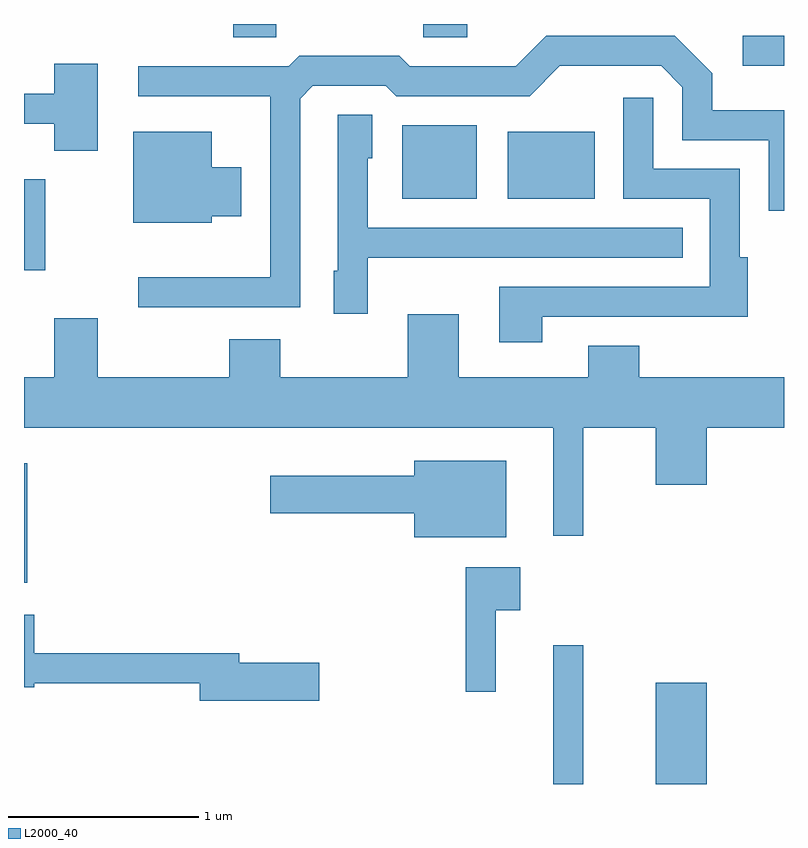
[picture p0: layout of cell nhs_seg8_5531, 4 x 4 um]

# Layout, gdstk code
import gdstk
lib = gdstk.Library(unit=1e-6, precision=1e-09)
def R(c, l, rs):  # rectangles x0, y0, x1, y1
    for r in rs: c.add(gdstk.rectangle(r[:2], r[2:], *l))
def P(c, l, *ps):  # polygons
    for p in ps: c.add(gdstk.Polygon(p, *l))
L2000_40 = (2000, 40)

nhs_seg8_5531 = lib.new_cell('nhs_seg8_5531')
R(nhs_seg8_5531, L2000_40, [(354.396,1812.342,354.554,1813.073), (354.936,1812.342,355.204,1812.874), (351.611,1813.401,351.629,1814.029), (351.611,1815.046,351.724,1815.524), (353.601,1815.421,353.994,1815.809), (354.156,1815.421,354.614,1815.774), (355.393,1816.121,355.611,1816.279), (352.711,1816.271,352.939,1816.342), (353.711,1816.271,353.944,1816.342)])
P(nhs_seg8_5531, L2000_40, [(353.064,1815.949),(353.132,1816.016),(353.514,1816.016),(353.569,1815.961),(354.272,1815.961),(354.432,1816.121),(354.964,1816.121),(355.076,1816.009),(355.076,1815.731),(355.531,1815.731),(355.531,1815.358),(355.611,1815.358),(355.611,1815.889),(355.234,1815.889),(355.234,1816.082),(355.037,1816.279),(354.359,1816.279),(354.199,1816.119),(353.642,1816.119),(353.587,1816.174),(353.059,1816.174),(353.004,1816.119),(352.213,1816.119),(352.213,1815.961),(352.906,1815.961),(352.906,1815.009),(352.213,1815.009),(352.213,1814.851),(353.064,1814.851)],
  [(351.999,1816.134),(351.771,1816.134),(351.771,1815.974),(351.611,1815.974),(351.611,1815.816),(351.771,1815.816),(351.771,1815.676),(351.999,1815.676)],
  [(354.339,1814.801),(355.419,1814.801),(355.419,1815.114),(355.379,1815.114),(355.379,1815.579),(354.924,1815.579),(354.924,1815.953),(354.766,1815.953),(354.766,1815.421),(355.221,1815.421),(355.221,1814.959),(354.111,1814.959),(354.111,1814.666),(354.339,1814.666)],
  [(353.419,1815.111),(355.078,1815.111),(355.078,1815.269),(353.419,1815.269),(353.419,1815.636),(353.444,1815.636),(353.444,1815.864),(353.261,1815.864),(353.261,1815.044),(353.241,1815.044),(353.241,1814.816),(353.419,1814.816)],
  [(352.599,1815.331),(352.754,1815.331),(352.754,1815.589),(352.599,1815.589),(352.599,1815.774),(352.186,1815.774),(352.186,1815.296),(352.599,1815.296)],
  [(354.554,1814.216),(354.936,1814.216),(354.936,1813.916),(355.204,1813.916),(355.204,1814.216),(355.611,1814.216),(355.611,1814.484),(354.849,1814.484),(354.849,1814.649),(354.581,1814.649),(354.581,1814.484),(353.899,1814.484),(353.899,1814.814),(353.631,1814.814),(353.631,1814.484),(352.959,1814.484),(352.959,1814.684),(352.691,1814.684),(352.691,1814.484),(351.999,1814.484),(351.999,1814.794),(351.771,1814.794),(351.771,1814.484),(351.611,1814.484),(351.611,1814.216),(354.396,1814.216),(354.396,1813.648),(354.554,1813.648)],
  [(354.149,1814.044),(353.666,1814.044),(353.666,1813.964),(352.906,1813.964),(352.906,1813.766),(353.666,1813.766),(353.666,1813.641),(354.149,1813.641)],
  [(354.094,1813.256),(354.224,1813.256),(354.224,1813.484),(353.936,1813.484),(353.936,1812.828),(354.094,1812.828)],
  [(353.164,1812.979),(352.744,1812.979),(352.744,1813.029),(351.664,1813.029),(351.664,1813.234),(351.611,1813.234),(351.611,1812.851),(351.664,1812.851),(351.664,1812.871),(352.536,1812.871),(352.536,1812.781),(353.164,1812.781)])

lib.write_gds('nhs_seg8_5531.gds')
